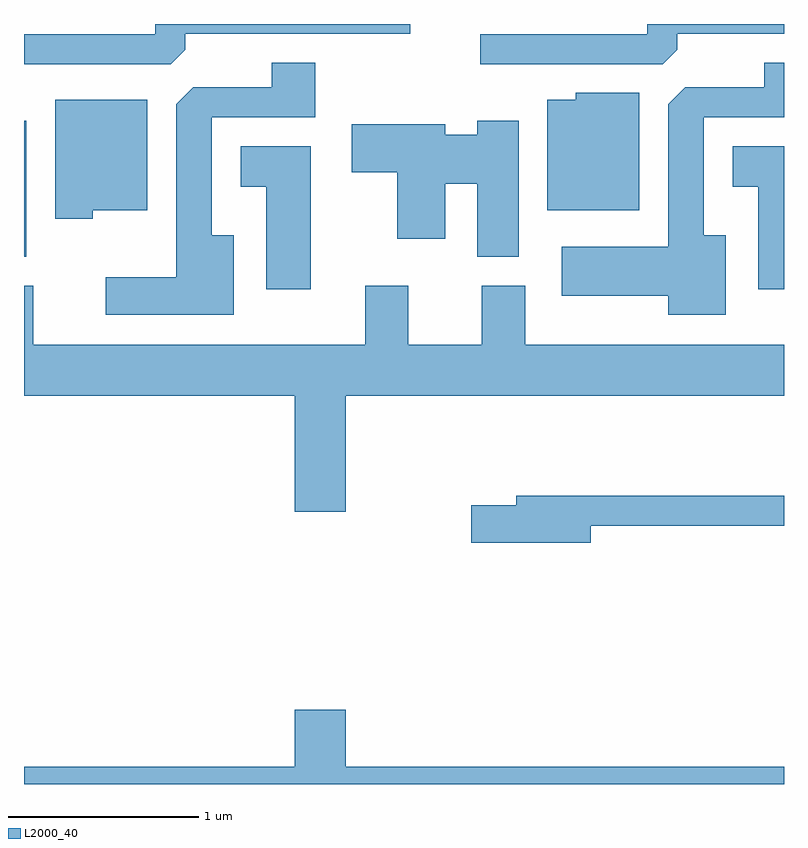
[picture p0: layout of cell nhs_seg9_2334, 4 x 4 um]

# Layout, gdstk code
import gdstk
lib = gdstk.Library(unit=1e-6, precision=1e-09)
def R(c, l, rs):  # rectangles x0, y0, x1, y1
    for r in rs: c.add(gdstk.rectangle(r[:2], r[2:], *l))
def P(c, l, *ps):  # polygons
    for p in ps: c.add(gdstk.Polygon(p, *l))
L2000_40 = (2000, 40)

nhs_seg9_2334 = lib.new_cell('nhs_seg9_2334')
R(nhs_seg9_2334, L2000_40, [(253.611,1999.206,253.624,1999.924)])
P(nhs_seg9_2334, L2000_40, [(254.459,2000.297),(254.459,2000.381),(255.643,2000.381),(255.643,2000.432),(254.301,2000.432),(254.301,2000.379),(253.611,2000.379),(253.611,2000.221),(254.384,2000.221)],
  [(257.049,2000.297),(257.049,2000.381),(257.611,2000.381),(257.611,2000.432),(256.891,2000.432),(256.891,2000.379),(256.013,2000.379),(256.013,2000.221),(256.974,2000.221)],
  [(257.304,1999.319),(257.189,1999.319),(257.189,1999.941),(257.611,1999.941),(257.611,2000.229),(257.506,2000.229),(257.506,2000.099),(257.092,2000.099),(257.001,2000.009),(257.001,1999.259),(256.441,1999.259),(256.441,1999.001),(257.001,1999.001),(257.001,1998.901),(257.304,1998.901)],
  [(254.714,1999.319),(254.599,1999.319),(254.599,1999.941),(255.144,1999.941),(255.144,2000.229),(254.916,2000.229),(254.916,2000.099),(254.502,2000.099),(254.411,2000.009),(254.411,1999.099),(254.041,1999.099),(254.041,1998.901),(254.714,1998.901)],
  [(256.849,2000.069),(256.516,2000.069),(256.516,2000.034),(256.366,2000.034),(256.366,1999.451),(256.849,1999.451)],
  [(253.974,1999.451),(254.259,1999.451),(254.259,2000.034),(253.776,2000.034),(253.776,1999.406),(253.974,1999.406)],
  [(256.214,1999.924),(255.996,1999.924),(255.996,1999.849),(255.829,1999.849),(255.829,1999.904),(255.336,1999.904),(255.336,1999.651),(255.576,1999.651),(255.576,1999.301),(255.829,1999.301),(255.829,1999.591),(255.996,1999.591),(255.996,1999.206),(256.214,1999.206)],
  [(257.611,1999.789),(257.341,1999.789),(257.341,1999.576),(257.476,1999.576),(257.476,1999.036),(257.611,1999.036)],
  [(255.119,1999.789),(254.751,1999.789),(254.751,1999.576),(254.886,1999.576),(254.886,1999.036),(255.119,1999.036)],
  [(255.304,1998.476),(257.611,1998.476),(257.611,1998.744),(256.249,1998.744),(256.249,1999.054),(256.021,1999.054),(256.021,1998.744),(255.634,1998.744),(255.634,1999.054),(255.406,1999.054),(255.406,1998.744),(253.659,1998.744),(253.659,1999.054),(253.611,1999.054),(253.611,1998.476),(255.036,1998.476),(255.036,1997.866),(255.304,1997.866)],
  [(256.594,1997.791),(257.611,1997.791),(257.611,1997.949),(256.201,1997.949),(256.201,1997.899),(255.966,1997.899),(255.966,1997.701),(256.594,1997.701)],
  [(257.611,1996.524),(255.304,1996.524),(255.304,1996.824),(255.036,1996.824),(255.036,1996.524),(253.611,1996.524),(253.611,1996.432),(257.611,1996.432)])

lib.write_gds('nhs_seg9_2334.gds')
